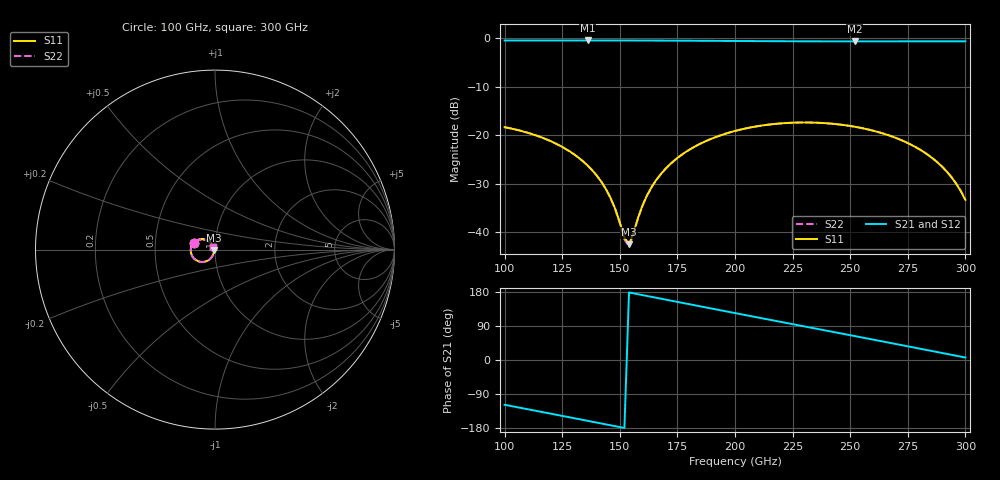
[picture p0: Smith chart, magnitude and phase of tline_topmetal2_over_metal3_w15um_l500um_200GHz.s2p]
#  GHZ S DB R 50
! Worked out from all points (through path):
!   101 points, 100 GHz to 300 GHz, reference 50 ohm
!   highest |S21| = -0.46 dB at 136 GHz (marker M1); lowest = -0.6 dB at 252 GHz (marker M2)
!   group delay of S21, straight-line fit = 3.27 ps
!   lowest |S11| = -42.5 dB at 154 GHz (marker M3), VSWR 1.02, Z = 49.3 - j0.152 ohm
!   |S11| at or under -10 dB: start of sweep to end of sweep
!   |S22| runs from -42.9 to -17.4 dB; largest |S21 - S12| = 1.1e-14
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100  -18.35 161.6  -0.46 -118.2  -0.46 -118.2  -18.35 161.6
120  -21.24 139.3  -0.46 -141.6  -0.46 -141.6  -21.24 139.3
134  -25.38 125.8  -0.46 -158.1  -0.46 -158.1  -25.39 125.6
136  -26.24 124.3  -0.46 -160.5  -0.46 -160.5  -26.26 124.0
142  -29.62 121.4  -0.46 -167.6  -0.46 -167.6  -29.64 121.0
146  -32.95 122.9  -0.46 -172.3  -0.46 -172.3  -33.00 122.3
148  -35.19 126.6  -0.46 -174.7  -0.46 -174.7  -35.28 125.7
152  -41.18 154.9  -0.47 -179.4  -0.47 -179.4  -41.49 154.0
154  -42.50 -168.1  -0.47 178.2  -0.47 178.2  -42.90 -167.3
160  -34.33 -115.6  -0.47 171.1  -0.47 171.1  -34.37 -114.5
164  -30.56 -112.1  -0.48 166.4  -0.48 166.4  -30.57 -111.2
168  -27.92 -112.9  -0.49 161.6  -0.49 161.6  -27.92 -112.2
182  -22.50 -124.3  -0.52 145.0  -0.52 145.0  -22.49 -123.8
200  -19.14 -143.2  -0.57 123.8  -0.57 123.8  -19.13 -142.9
218  -17.65 -163.0  -0.61 102.8  -0.61 102.8  -17.65 -162.7
234  -17.41 179.3  -0.64 84.1  -0.64 84.1  -17.40 179.7
252  -18.26 159.7  -0.65 63.1  -0.65 63.1  -18.26 160.1
268  -20.25 142.8  -0.64 44.3  -0.64 44.3  -20.24 143.3
278  -22.36 133.0  -0.64 32.6  -0.64 32.6  -22.35 133.6
288  -25.67 125.2  -0.63 20.7  -0.63 20.7  -25.64 125.9
294  -28.70 123.1  -0.63 13.6  -0.63 13.6  -28.66 124.0
300  -33.36 128.4  -0.64 6.5  -0.64 6.5  -33.25 129.7
